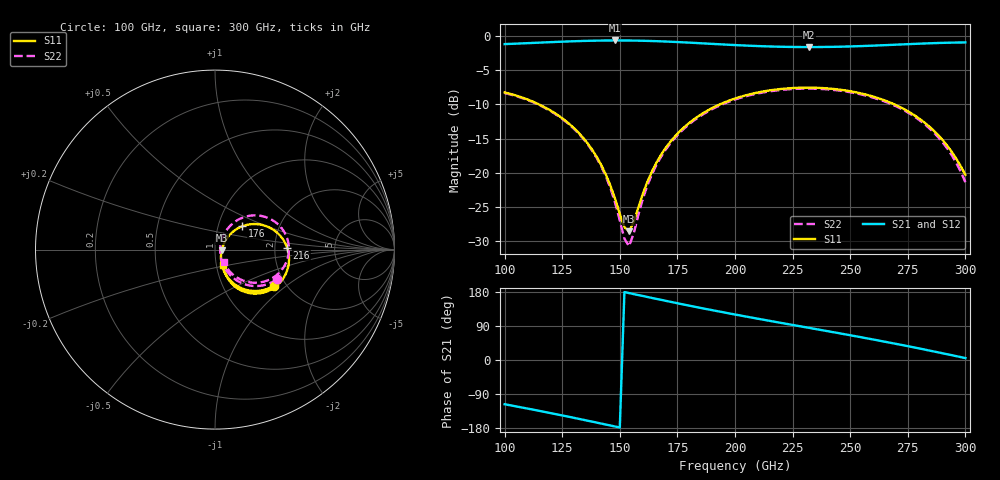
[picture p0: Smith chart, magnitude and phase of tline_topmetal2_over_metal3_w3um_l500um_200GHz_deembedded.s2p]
! Created with skrf 2.0.1 (http://scikit-rf.org).
# GHz S DB R 50.0
!freq dBS11 angS11 dBS21 angS21 dBS12 angS12 dBS22 angS22
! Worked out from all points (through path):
!   101 points, 100 GHz to 300 GHz, reference 50 ohm
!   highest |S21| = -0.67 dB at 148 GHz (marker M1); lowest = -1.6 dB at 232 GHz (marker M2)
!   group delay of S21, straight-line fit = 3.28 ps
!   lowest |S11| = -28.5 dB at 154 GHz (marker M3), VSWR 1.08, Z = 53.9 - j0.409 ohm
!   |S11| at or under -10 dB: 114.9 GHz to 193.5 GHz (78.62 GHz wide, 51 % of centre); 269.1 GHz to end of sweep
!   |S22| runs from -30.7 to -7.7 dB; largest |S21 - S12| = 1.1e-14
!   S11 on the Smith chart (normalised r, x): 100 GHz: 1.74, -0.82; 176 GHz: 1.31, +0.35; 216 GHz: 2.34, +0.06; 300 GHz: 1.08, -0.18
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100  -8.27 -31.3  -1.20 -116.7  -1.20 -116.7  -8.35 -25.5
120  -10.91 -52.0  -0.92 -140.2  -0.92 -140.2  -11.00 -45.4
134  -14.86 -64.6  -0.74 -157.6  -0.74 -157.6  -14.97 -58.1
142  -18.90 -67.3  -0.68 -167.8  -0.68 -167.8  -19.10 -61.9
148  -23.86 -58.5  -0.67 -175.6  -0.67 -175.6  -24.42 -55.4
152  -27.94 -30.9  -0.67 179.2  -0.67 179.2  -29.63 -27.7
154  -28.54 -5.8  -0.68 176.6  -0.68 176.6  -30.72 3.8
156  -27.24 17.0  -0.69 174.0  -0.69 174.0  -28.91 32.1
162  -21.30 42.8  -0.73 166.3  -0.73 166.3  -21.82 57.9
168  -17.32 45.1  -0.80 158.6  -0.80 158.6  -17.61 59.0
176  -13.96 40.5  -0.92 148.6  -0.92 148.6  -14.16 53.9
186  -11.32 31.5  -1.09 136.4  -1.09 136.4  -11.49 44.8
200  -9.15 17.6  -1.34 120.1  -1.34 120.1  -9.30 31.2
216  -7.92 1.6  -1.55 102.3  -1.55 102.3  -8.06 15.6
232  -7.56 -14.3  -1.63 84.9  -1.63 84.9  -7.70 0.1
234  -7.57 -16.2  -1.63 82.8  -1.63 82.8  -7.71 -1.8
252  -8.21 -33.9  -1.52 63.1  -1.52 63.1  -8.36 -19.2
268  -9.83 -49.4  -1.31 44.8  -1.31 44.8  -10.00 -35.0
278  -11.63 -58.4  -1.17 32.8  -1.17 32.8  -11.82 -44.7
288  -14.43 -65.2  -1.04 20.4  -1.04 20.4  -14.73 -53.2
294  -16.90 -66.3  -0.99 12.8  -0.99 12.8  -17.39 -56.4
300  -20.31 -60.8  -0.96 5.1  -0.96 5.1  -21.38 -54.9
